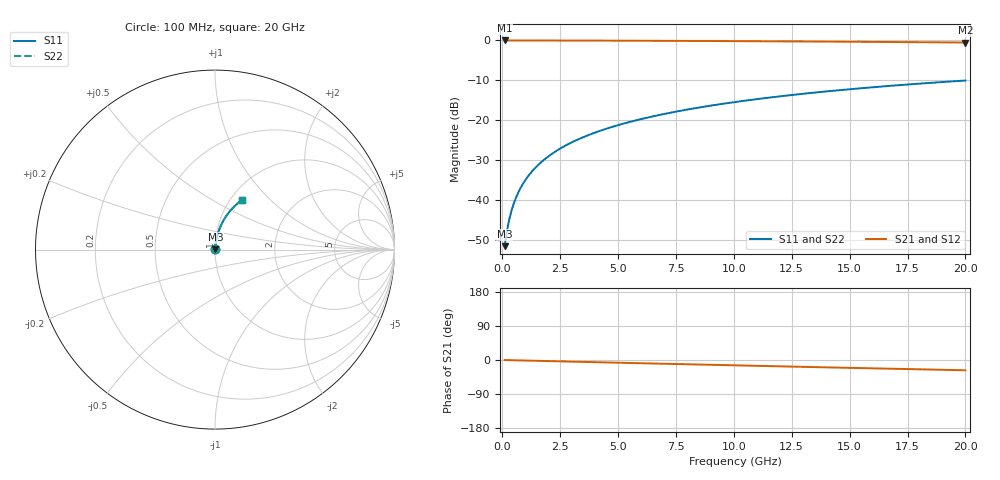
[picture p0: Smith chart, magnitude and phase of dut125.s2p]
! Touchstone file exported from HFSS 2026.1.0
!  File:  C:/ffzhzh/LocalFiles/Ansys_Project_Files/temp_train_BSMRDL_125_1782986119_41620.aedt
!  Generated:  05:56:31 PM Jul  2, 2026
!  Design:  BSMRDL
!  Project:  temp_train_BSMRDL_125_1782986119_41620
! Variables:
!  h_bsmrdl = 5.94um
!  h_ox = 20um
!  h_rdl = 5um
!  h_sub = 80um
!  h_tmrdl = 5um
!  h_tsv = 80um
!  h_via = 3um
!  l_bsmrdl = 339.28um
!  l_sub = 739.28um
!  l_tmrdl = 200um
!  m_sub = 200um
!  pitch = 44.45um
!  r_tsv = 6um
!  s_tmrdl = 10um
!  w_bsmrdl = 10.7um
!  w_sub = 500um
!  w_tmrdl = 12um
!  x_tsv_center1 = 206um
!  x_tsv_center2 = 555.98um
!  x_tsv_center3 = 767.98um
!  x_tsv_center4 = 1117.96um
!  x_tsv_center5 = 1329.96um
!  x_tsv_center6 = 1679.94um
# GHz S MA R 50.000000
! Terminal data exported
! Port[1] = BSM_RDL1_1_T1
! Port[2] = BSM_RDL1_1_T2
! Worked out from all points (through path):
!   200 points, 100 MHz to 20 GHz, reference 50 ohm
!   highest |S21| = -0.02 dB at 100 MHz (marker M1); lowest = -0.5 dB at 20 GHz (marker M2)
!   group delay of S21, straight-line fit = 3.77 ps
!   lowest |S11| = -51.4 dB at 100 MHz (marker M3), VSWR 1.01, Z = 50.2 + j0.184 ohm
!   |S11| at or under -10 dB: start of sweep to end of sweep
!   |S22| runs from -51.4 to -10.0 dB; largest |S21 - S12| = 3.2e-15
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0.1  0.00268 43.2  0.998 -0.1  0.998 -0.1  0.00268 43.2
! Gamma 0 0 0 0
! Port Impedance 50 0 50 0
0.2  0.00414 61.0  0.998 -0.3  0.998 -0.3  0.004139 61.0
0.3  0.005777 69.2  0.998 -0.4  0.998 -0.4  0.005776 69.2
0.4  0.00748 73.7  0.9979 -0.6  0.9979 -0.6  0.00748 73.7
0.5  0.009216 76.4  0.9979 -0.7  0.9979 -0.7  0.009215 76.4
0.6  0.01097 78.3  0.9978 -0.9  0.9978 -0.9  0.01097 78.3
0.8  0.0145 80.5  0.9977 -1.2  0.9977 -1.2  0.0145 80.5
1.1  0.01981 82.0  0.9975 -1.6  0.9975 -1.6  0.01981 82.0
1.3  0.02335 82.5  0.9974 -1.9  0.9974 -1.9  0.02335 82.5
1.5  0.02689 82.8  0.9972 -2.2  0.9972 -2.2  0.02689 82.8
1.8  0.03218 83.0  0.9969 -2.6  0.9969 -2.6  0.03218 83.0
2.1  0.03746 82.9  0.9966 -3.1  0.9966 -3.1  0.03746 82.9
2.7  0.04793 82.6  0.9959 -3.9  0.9959 -3.9  0.04793 82.6
3.5  0.06176 81.8  0.9947 -5.1  0.9947 -5.1  0.06176 81.8
4.2  0.07372 81.0  0.9935 -6.0  0.9935 -6.0  0.07372 81.0
5  0.08725 80.1  0.992 -7.2  0.992 -7.2  0.08725 80.1
6.8  0.1172 77.8  0.988 -9.7  0.988 -9.7  0.1172 77.8
8.3  0.1417 76.0  0.9842 -11.8  0.9842 -11.8  0.1417 76.0
10.1  0.1704 73.7  0.9791 -14.2  0.9791 -14.2  0.1704 73.7
13.4  0.2214 69.5  0.968 -18.6  0.968 -18.6  0.2214 69.5
16.7  0.2697 65.4  0.9551 -22.9  0.9551 -22.9  0.2697 65.4
20  0.3151 61.3  0.9406 -27.1  0.9406 -27.1  0.3151 61.3
